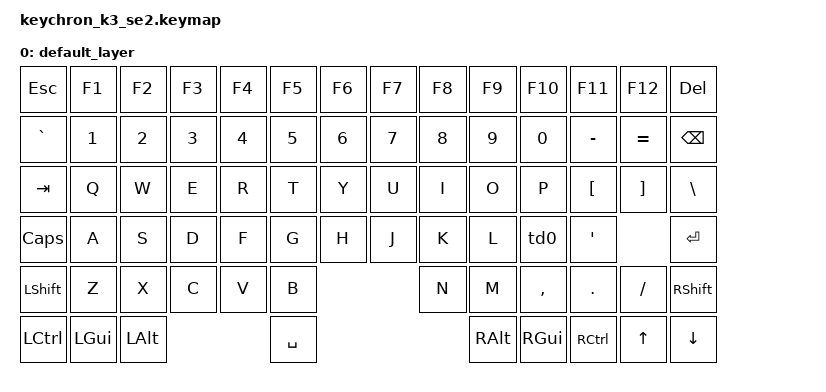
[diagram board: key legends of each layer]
#include <behaviors.dtsi>
#include <dt-bindings/zmk/keys.h>
#include <dt-bindings/zmk/bt.h>
#include <dt-bindings/zmk/outputs.h>

/ {
    chosen {
        zmk,matrix-transform = &default_transform;
    };

    behaviors {
        // 키크론 런처에서 불가능했던 ZMK 고유 기능 (예시: 탭댄스 td0)
        td0: tap_dance_0 {
            compatible = "zmk,behavior-tap-dance";
            #binding-cells = <0>;
            tapping-term-ms = <200>;
            bindings = <&kp SEMI>, <&kp COLON>;
        };
    };

    keymap {
        compatible = "zmk,keymap";

        default_layer {
            bindings = <
                &kp ESC  &kp F1   &kp F2   &kp F3   &kp F4   &kp F5   &kp F6   &kp F7   &kp F8   &kp F9   &kp F10  &kp F11  &kp F12  &kp DEL
                &kp GRAVE &kp N1   &kp N2   &kp N3   &kp N4   &kp N5   &kp N6   &kp N7   &kp N8   &kp N9   &kp N0   &kp MINUS &kp EQUAL &kp BSPC
                &kp TAB  &kp Q    &kp W    &kp E    &kp R    &kp T    &kp Y    &kp U    &kp I    &kp O    &kp P    &kp LBKT &kp RBKT &kp BSLH
                &kp CLCK &kp A    &kp S    &kp D    &kp F    &kp G    &kp H    &kp J    &kp K    &kp L    &td0     &kp SQT           &kp ENTER
                &kp LSHFT         &kp Z    &kp X    &kp C    &kp V    &kp B    &kp N    &kp M    &kp COMMA &kp DOT &kp FSLH          &kp RSHFT
                &kp LCTRL &kp LGUI &kp LALT                   &kp SPACE                      &kp RALT &kp RGUI &kp RCTRL &kp UP   &kp DOWN
            >;
        };
    };
};
